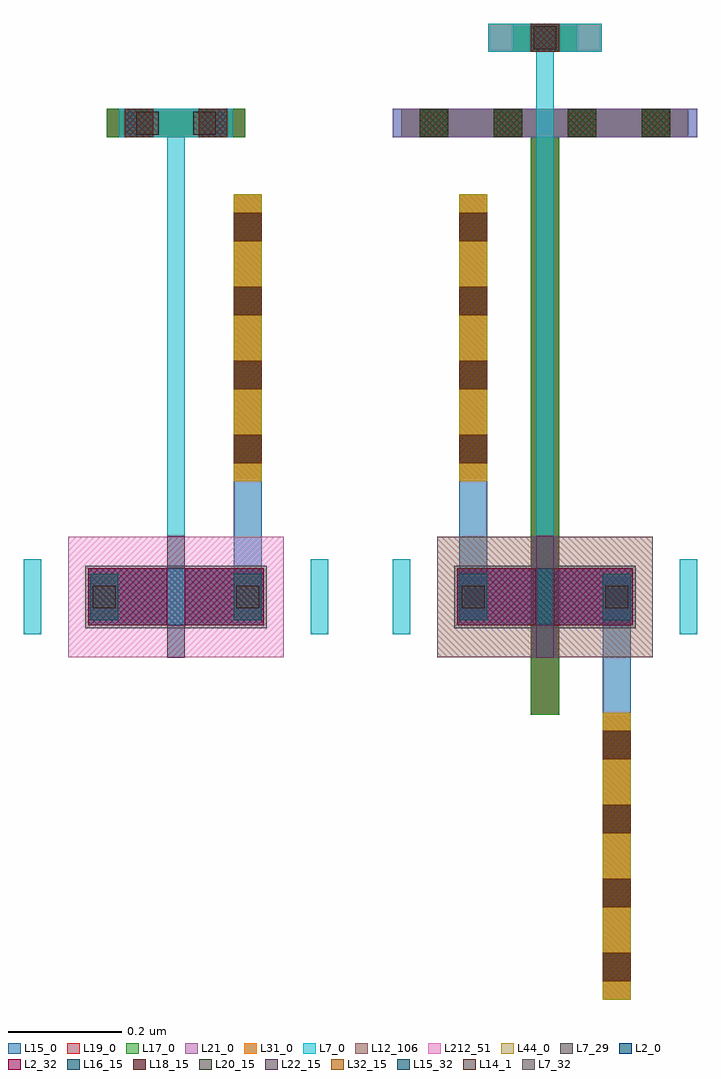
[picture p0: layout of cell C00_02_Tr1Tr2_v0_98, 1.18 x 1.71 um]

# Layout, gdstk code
import gdstk
lib = gdstk.Library(unit=1e-6, precision=1e-09)
def R(c, l, rs):  # rectangles x0, y0, x1, y1
    for r in rs: c.add(gdstk.rectangle(r[:2], r[2:], *l))
def A(c, l, x, y, w, h, nx, ny, dx, dy):  # array of equal rectangles
    R(c, l, [(x+i*dx, y+j*dy, x+i*dx+w, y+j*dy+h) for i in range(nx) for j in range(ny)])
L2_0 = (2, 0)
L2_32 = (2, 32)
L7_0 = (7, 0)
L7_29 = (7, 29)
L7_32 = (7, 32)
L12_106 = (12, 106)
L14_1 = (14, 1)
L15_0 = (15, 0)
L15_32 = (15, 32)
L16_15 = (16, 15)
L17_0 = (17, 0)
L18_15 = (18, 15)
L19_0 = (19, 0)
L20_15 = (20, 15)
L21_0 = (21, 0)
L22_15 = (22, 15)
L31_0 = (31, 0)
L32_15 = (32, 15)
L44_0 = (44, 0)
L212_51 = (212, 51)

c00_02_tr1tr2_v0_98_srf_ = lib.new_cell('C00_02_Tr1Tr2_v0_98:SRF_Tr1:SRF_Nmos')
R(c00_02_tr1tr2_v0_98_srf_, L2_0, [(-0.139,0.057,0.169,0.157)])
R(c00_02_tr1tr2_v0_98_srf_, L2_32, [(-0.139,0.057,0,0.157), (0.03,0.057,0.169,0.157)])
R(c00_02_tr1tr2_v0_98_srf_, L7_0, [(0,0,0.03,0.214), (-0.252,0.041,-0.222,0.173), (0.252,0.041,0.282,0.173)])
R(c00_02_tr1tr2_v0_98_srf_, L7_29, [(-0.144,0.052,0.174,0.162)])
R(c00_02_tr1tr2_v0_98_srf_, L7_32, [(0,0,0.03,0.057), (0,0.157,0.03,0.214)])
R(c00_02_tr1tr2_v0_98_srf_, L12_106, [(-0.174,0.001,0.204,0.213)])
R(c00_02_tr1tr2_v0_98_srf_, L14_1, [(-0.131,0.087,-0.091,0.127), (0.121,0.087,0.161,0.127)])
R(c00_02_tr1tr2_v0_98_srf_, L15_0, [(-0.136,0.066,-0.086,0.148), (-0.136,0.066,-0.086,0.148), (0.116,0.066,0.166,0.148), (0.116,0.066,0.166,0.148)])
R(c00_02_tr1tr2_v0_98_srf_, L15_32, [(-0.136,0.066,-0.086,0.148), (0.116,0.066,0.166,0.148)])

c_c00_02_tr1tr2_v0_98_srf_ = lib.new_cell('C00_02_Tr1Tr2_v0_98:SRF_Tr1:SRF_Tr1_Source_ViaM1Mx:SRF_ViaM1M2')
R(c_c00_02_tr1tr2_v0_98_srf_, L15_0, [(0,-0.422,0.05,0.082)])
A(c_c00_02_tr1tr2_v0_98_srf_, L16_15, 0, -0.39, 0.05, 0.05, 1, 4, 0, 0.13)
R(c_c00_02_tr1tr2_v0_98_srf_, L17_0, [(0,-0.422,0.05,0.082)])

c_c00_02_tr1tr2_v0_98_srf__ = lib.new_cell('C00_02_Tr1Tr2_v0_98:SRF_Tr1:SRF_Tr1_Source_ViaM1Mx:SRF_ViaM2M3')
R(c_c00_02_tr1tr2_v0_98_srf__, L17_0, [(0,-0.422,0.05,0.082)])
A(c_c00_02_tr1tr2_v0_98_srf__, L18_15, 0, -0.39, 0.05, 0.05, 1, 4, 0, 0.13)
R(c_c00_02_tr1tr2_v0_98_srf__, L19_0, [(0,-0.422,0.05,0.082)])

c_c00_02_tr1tr2_v0_98_srf___ = lib.new_cell('C00_02_Tr1Tr2_v0_98:SRF_Tr1:SRF_Tr1_Source_ViaM1Mx:SRF_ViaM3M4')
R(c_c00_02_tr1tr2_v0_98_srf___, L19_0, [(0,-0.422,0.05,0.082)])
A(c_c00_02_tr1tr2_v0_98_srf___, L20_15, 0, -0.39, 0.05, 0.05, 1, 4, 0, 0.13)
R(c_c00_02_tr1tr2_v0_98_srf___, L21_0, [(0,-0.422,0.05,0.082)])

c_c00_02_tr1tr2_v0_98_srf____ = lib.new_cell('C00_02_Tr1Tr2_v0_98:SRF_Tr1:SRF_Tr1_Source_ViaM1Mx:SRF_ViaM4M5')
R(c_c00_02_tr1tr2_v0_98_srf____, L21_0, [(0,-0.422,0.05,0.082)])
A(c_c00_02_tr1tr2_v0_98_srf____, L22_15, 0, -0.39, 0.05, 0.05, 1, 4, 0, 0.13)
R(c_c00_02_tr1tr2_v0_98_srf____, L31_0, [(0,-0.422,0.05,0.082)])

c_c00_02_tr1tr2_v0_98_srf_____ = lib.new_cell('C00_02_Tr1Tr2_v0_98:SRF_Tr1:SRF_Tr1_Source_ViaM1Mx:SRF_ViaM5M6')
R(c_c00_02_tr1tr2_v0_98_srf_____, L31_0, [(0,-0.422,0.05,0.082)])
A(c_c00_02_tr1tr2_v0_98_srf_____, L32_15, 0, -0.39, 0.05, 0.05, 1, 4, 0, 0.13)
R(c_c00_02_tr1tr2_v0_98_srf_____, L44_0, [(0,-0.422,0.05,0.082)])

c_c00_02_tr1tr2_v0_98_srf______ = lib.new_cell('C00_02_Tr1Tr2_v0_98:SRF_Tr1:SRF_Tr1_Source_ViaM1Mx')
c_c00_02_tr1tr2_v0_98_srf______.add(gdstk.Reference(c_c00_02_tr1tr2_v0_98_srf_, (-0.025,0.17)))
c_c00_02_tr1tr2_v0_98_srf______.add(gdstk.Reference(c_c00_02_tr1tr2_v0_98_srf__, (-0.025,0.17)))
c_c00_02_tr1tr2_v0_98_srf______.add(gdstk.Reference(c_c00_02_tr1tr2_v0_98_srf___, (-0.025,0.17)))
c_c00_02_tr1tr2_v0_98_srf______.add(gdstk.Reference(c_c00_02_tr1tr2_v0_98_srf____, (-0.025,0.17)))
c_c00_02_tr1tr2_v0_98_srf______.add(gdstk.Reference(c_c00_02_tr1tr2_v0_98_srf_____, (-0.025,0.17)))

c_c00_02_tr1tr2_v0_98_srf_______ = lib.new_cell('C00_02_Tr1Tr2_v0_98:SRF_Tr1:SRF_Ground_ViaM1Mx:SRF_ViaM1M2')
R(c_c00_02_tr1tr2_v0_98_srf_______, L15_0, [(-0.032,0,0.472,0.05)])
A(c_c00_02_tr1tr2_v0_98_srf_______, L16_15, 0, 0, 0.05, 0.05, 4, 1, 0.13, 0)
R(c_c00_02_tr1tr2_v0_98_srf_______, L17_0, [(-0.032,0,0.472,0.05)])

c_c00_02_tr1tr2_v0_98_srf________ = lib.new_cell('C00_02_Tr1Tr2_v0_98:SRF_Tr1:SRF_Ground_ViaM1Mx:SRF_ViaM2M3')
R(c_c00_02_tr1tr2_v0_98_srf________, L17_0, [(-0.032,0,0.472,0.05)])
A(c_c00_02_tr1tr2_v0_98_srf________, L18_15, 0, 0, 0.05, 0.05, 4, 1, 0.13, 0)
R(c_c00_02_tr1tr2_v0_98_srf________, L19_0, [(-0.032,0,0.472,0.05)])

c_c00_02_tr1tr2_v0_98_srf_________ = lib.new_cell('C00_02_Tr1Tr2_v0_98:SRF_Tr1:SRF_Ground_ViaM1Mx:SRF_ViaM3M4')
R(c_c00_02_tr1tr2_v0_98_srf_________, L19_0, [(-0.032,0,0.472,0.05)])
A(c_c00_02_tr1tr2_v0_98_srf_________, L20_15, 0, 0, 0.05, 0.05, 4, 1, 0.13, 0)
R(c_c00_02_tr1tr2_v0_98_srf_________, L21_0, [(-0.032,0,0.472,0.05)])

c_c00_02_tr1tr2_v0_98_srf__________ = lib.new_cell('C00_02_Tr1Tr2_v0_98:SRF_Tr1:SRF_Ground_ViaM1Mx')
c_c00_02_tr1tr2_v0_98_srf__________.add(gdstk.Reference(c_c00_02_tr1tr2_v0_98_srf_______, (-0.22,-0.025)))
c_c00_02_tr1tr2_v0_98_srf__________.add(gdstk.Reference(c_c00_02_tr1tr2_v0_98_srf________, (-0.22,-0.025)))
c_c00_02_tr1tr2_v0_98_srf__________.add(gdstk.Reference(c_c00_02_tr1tr2_v0_98_srf_________, (-0.22,-0.025)))

c_c00_02_tr1tr2_v0_98_srf___________ = lib.new_cell('C00_02_Tr1Tr2_v0_98:SRF_Tr1:SRF_Gate_ViaM0M3:SRF_ViaM0M1')
R(c_c00_02_tr1tr2_v0_98_srf___________, L7_0, [(-0.01,-0.004,0.05,0.044)])
R(c_c00_02_tr1tr2_v0_98_srf___________, L14_1, [(0,0,0.04,0.04)])
R(c_c00_02_tr1tr2_v0_98_srf___________, L15_0, [(-0.021,-0.005,0.061,0.045)])

c_c00_02_tr1tr2_v0_98_srf____________ = lib.new_cell('C00_02_Tr1Tr2_v0_98:SRF_Tr1:SRF_Gate_ViaM0M3:SRF_ViaM1M2')
R(c_c00_02_tr1tr2_v0_98_srf____________, L15_0, [(-0.032,0,0.082,0.05)])
R(c_c00_02_tr1tr2_v0_98_srf____________, L16_15, [(0,0,0.05,0.05)])
R(c_c00_02_tr1tr2_v0_98_srf____________, L17_0, [(-0.032,0,0.082,0.05)])

c_c00_02_tr1tr2_v0_98_srf_____________ = lib.new_cell('C00_02_Tr1Tr2_v0_98:SRF_Tr1:SRF_Gate_ViaM0M3:SRF_ViaM2M3')
R(c_c00_02_tr1tr2_v0_98_srf_____________, L17_0, [(-0.032,0,0.082,0.05)])
R(c_c00_02_tr1tr2_v0_98_srf_____________, L18_15, [(0,0,0.05,0.05)])
R(c_c00_02_tr1tr2_v0_98_srf_____________, L19_0, [(-0.032,0,0.082,0.05)])

c_c00_02_tr1tr2_v0_98_srf______________ = lib.new_cell('C00_02_Tr1Tr2_v0_98:SRF_Tr1:SRF_Gate_ViaM0M3')
c_c00_02_tr1tr2_v0_98_srf______________.add(gdstk.Reference(c_c00_02_tr1tr2_v0_98_srf___________, (-0.02,-0.02)))
c_c00_02_tr1tr2_v0_98_srf______________.add(gdstk.Reference(c_c00_02_tr1tr2_v0_98_srf____________, (-0.025,-0.025)))
c_c00_02_tr1tr2_v0_98_srf______________.add(gdstk.Reference(c_c00_02_tr1tr2_v0_98_srf_____________, (-0.025,-0.025)))

c_c00_02_tr1tr2_v0_98_srf_______________ = lib.new_cell('C00_02_Tr1Tr2_v0_98:SRF_Tr1:SRF_Tr1_Drain_ViaM1Mx:SRF_ViaM1M2')
R(c_c00_02_tr1tr2_v0_98_srf_______________, L15_0, [(0,-0.422,0.05,0.082)])
A(c_c00_02_tr1tr2_v0_98_srf_______________, L16_15, 0, -0.39, 0.05, 0.05, 1, 4, 0, 0.13)
R(c_c00_02_tr1tr2_v0_98_srf_______________, L17_0, [(0,-0.422,0.05,0.082)])

c_c00_02_tr1tr2_v0_98_srf________________ = lib.new_cell('C00_02_Tr1Tr2_v0_98:SRF_Tr1:SRF_Tr1_Drain_ViaM1Mx:SRF_ViaM2M3')
R(c_c00_02_tr1tr2_v0_98_srf________________, L17_0, [(0,-0.422,0.05,0.082)])
A(c_c00_02_tr1tr2_v0_98_srf________________, L18_15, 0, -0.39, 0.05, 0.05, 1, 4, 0, 0.13)
R(c_c00_02_tr1tr2_v0_98_srf________________, L19_0, [(0,-0.422,0.05,0.082)])

c_c00_02_tr1tr2_v0_98_srf_________________ = lib.new_cell('C00_02_Tr1Tr2_v0_98:SRF_Tr1:SRF_Tr1_Drain_ViaM1Mx:SRF_ViaM3M4')
R(c_c00_02_tr1tr2_v0_98_srf_________________, L19_0, [(0,-0.422,0.05,0.082)])
A(c_c00_02_tr1tr2_v0_98_srf_________________, L20_15, 0, -0.39, 0.05, 0.05, 1, 4, 0, 0.13)
R(c_c00_02_tr1tr2_v0_98_srf_________________, L21_0, [(0,-0.422,0.05,0.082)])

c_c00_02_tr1tr2_v0_98_srf__________________ = lib.new_cell('C00_02_Tr1Tr2_v0_98:SRF_Tr1:SRF_Tr1_Drain_ViaM1Mx:SRF_ViaM4M5')
R(c_c00_02_tr1tr2_v0_98_srf__________________, L21_0, [(0,-0.422,0.05,0.082)])
A(c_c00_02_tr1tr2_v0_98_srf__________________, L22_15, 0, -0.39, 0.05, 0.05, 1, 4, 0, 0.13)
R(c_c00_02_tr1tr2_v0_98_srf__________________, L31_0, [(0,-0.422,0.05,0.082)])

c_c00_02_tr1tr2_v0_98_srf___________________ = lib.new_cell('C00_02_Tr1Tr2_v0_98:SRF_Tr1:SRF_Tr1_Drain_ViaM1Mx:SRF_ViaM5M6')
R(c_c00_02_tr1tr2_v0_98_srf___________________, L31_0, [(0,-0.422,0.05,0.082)])
A(c_c00_02_tr1tr2_v0_98_srf___________________, L32_15, 0, -0.39, 0.05, 0.05, 1, 4, 0, 0.13)
R(c_c00_02_tr1tr2_v0_98_srf___________________, L44_0, [(0,-0.422,0.05,0.082)])

c_c00_02_tr1tr2_v0_98_srf____________________ = lib.new_cell('C00_02_Tr1Tr2_v0_98:SRF_Tr1:SRF_Tr1_Drain_ViaM1Mx')
c_c00_02_tr1tr2_v0_98_srf____________________.add(gdstk.Reference(c_c00_02_tr1tr2_v0_98_srf_______________, (-0.025,0.17)))
c_c00_02_tr1tr2_v0_98_srf____________________.add(gdstk.Reference(c_c00_02_tr1tr2_v0_98_srf________________, (-0.025,0.17)))
c_c00_02_tr1tr2_v0_98_srf____________________.add(gdstk.Reference(c_c00_02_tr1tr2_v0_98_srf_________________, (-0.025,0.17)))
c_c00_02_tr1tr2_v0_98_srf____________________.add(gdstk.Reference(c_c00_02_tr1tr2_v0_98_srf__________________, (-0.025,0.17)))
c_c00_02_tr1tr2_v0_98_srf____________________.add(gdstk.Reference(c_c00_02_tr1tr2_v0_98_srf___________________, (-0.025,0.17)))

c_c00_02_tr1tr2_v0_98_srf_____________________ = lib.new_cell('C00_02_Tr1Tr2_v0_98:SRF_Tr1')
R(c_c00_02_tr1tr2_v0_98_srf_____________________, L7_0, [(0,0.214,0.03,1.064), (-0.085,1.064,0.115,1.114)])
R(c_c00_02_tr1tr2_v0_98_srf_____________________, L15_0, [(0.116,-0.6,0.166,0.066), (-0.01,-0.1,0.04,0.914), (-0.136,0.148,-0.086,0.814), (-0.252,0.914,0.282,0.964)])
R(c_c00_02_tr1tr2_v0_98_srf_____________________, L17_0, [(-0.01,-0.1,0.04,0.914)])
R(c_c00_02_tr1tr2_v0_98_srf_____________________, L19_0, [(-0.01,-0.1,0.04,0.914), (-0.085,1.064,0.115,1.114)])
R(c_c00_02_tr1tr2_v0_98_srf_____________________, L21_0, [(-0.252,0.914,0.282,0.964)])
c_c00_02_tr1tr2_v0_98_srf_____________________.add(gdstk.Reference(c00_02_tr1tr2_v0_98_srf_, (0,0)))
c_c00_02_tr1tr2_v0_98_srf_____________________.add(gdstk.Reference(c_c00_02_tr1tr2_v0_98_srf______, (-0.111,0.562)))
c_c00_02_tr1tr2_v0_98_srf_____________________.add(gdstk.Reference(c_c00_02_tr1tr2_v0_98_srf__________, (0.015,0.939)))
c_c00_02_tr1tr2_v0_98_srf_____________________.add(gdstk.Reference(c_c00_02_tr1tr2_v0_98_srf______________, (0.015,1.089)))
c_c00_02_tr1tr2_v0_98_srf_____________________.add(gdstk.Reference(c_c00_02_tr1tr2_v0_98_srf____________________, (0.141,-0.348)))

c_c00_02_tr1tr2_v0_98_srf______________________ = lib.new_cell('C00_02_Tr1Tr2_v0_98:SRF_Tr2:SRF_Nmos')
R(c_c00_02_tr1tr2_v0_98_srf______________________, L2_0, [(-0.139,0.057,0.169,0.157)])
R(c_c00_02_tr1tr2_v0_98_srf______________________, L2_32, [(-0.139,0.057,0,0.157), (0.03,0.057,0.169,0.157)])
R(c_c00_02_tr1tr2_v0_98_srf______________________, L7_0, [(0,0,0.03,0.214), (-0.252,0.041,-0.222,0.173), (0.252,0.041,0.282,0.173)])
R(c_c00_02_tr1tr2_v0_98_srf______________________, L7_29, [(-0.144,0.052,0.174,0.162)])
R(c_c00_02_tr1tr2_v0_98_srf______________________, L7_32, [(0,0,0.03,0.057), (0,0.157,0.03,0.214)])
R(c_c00_02_tr1tr2_v0_98_srf______________________, L14_1, [(-0.131,0.087,-0.091,0.127), (0.121,0.087,0.161,0.127)])
R(c_c00_02_tr1tr2_v0_98_srf______________________, L15_0, [(-0.136,0.066,-0.086,0.148), (-0.136,0.066,-0.086,0.148), (0.116,0.066,0.166,0.148), (0.116,0.066,0.166,0.148)])
R(c_c00_02_tr1tr2_v0_98_srf______________________, L15_32, [(-0.136,0.066,-0.086,0.148), (0.116,0.066,0.166,0.148)])
R(c_c00_02_tr1tr2_v0_98_srf______________________, L212_51, [(-0.174,0.001,0.204,0.213)])

c_c00_02_tr1tr2_v0_98_srf_______________________ = lib.new_cell('C00_02_Tr1Tr2_v0_98:SRF_Tr2:SRF_Tr2_Drain_ViaM1Mx:SRF_ViaM1M2')
R(c_c00_02_tr1tr2_v0_98_srf_______________________, L15_0, [(0,-0.422,0.05,0.082)])
A(c_c00_02_tr1tr2_v0_98_srf_______________________, L16_15, 0, -0.39, 0.05, 0.05, 1, 4, 0, 0.13)
R(c_c00_02_tr1tr2_v0_98_srf_______________________, L17_0, [(0,-0.422,0.05,0.082)])

c_c00_02_tr1tr2_v0_98_srf________________________ = lib.new_cell('C00_02_Tr1Tr2_v0_98:SRF_Tr2:SRF_Tr2_Drain_ViaM1Mx:SRF_ViaM2M3')
R(c_c00_02_tr1tr2_v0_98_srf________________________, L17_0, [(0,-0.422,0.05,0.082)])
A(c_c00_02_tr1tr2_v0_98_srf________________________, L18_15, 0, -0.39, 0.05, 0.05, 1, 4, 0, 0.13)
R(c_c00_02_tr1tr2_v0_98_srf________________________, L19_0, [(0,-0.422,0.05,0.082)])

c_c00_02_tr1tr2_v0_98_srf_________________________ = lib.new_cell('C00_02_Tr1Tr2_v0_98:SRF_Tr2:SRF_Tr2_Drain_ViaM1Mx:SRF_ViaM3M4')
R(c_c00_02_tr1tr2_v0_98_srf_________________________, L19_0, [(0,-0.422,0.05,0.082)])
A(c_c00_02_tr1tr2_v0_98_srf_________________________, L20_15, 0, -0.39, 0.05, 0.05, 1, 4, 0, 0.13)
R(c_c00_02_tr1tr2_v0_98_srf_________________________, L21_0, [(0,-0.422,0.05,0.082)])

c_c00_02_tr1tr2_v0_98_srf__________________________ = lib.new_cell('C00_02_Tr1Tr2_v0_98:SRF_Tr2:SRF_Tr2_Drain_ViaM1Mx:SRF_ViaM4M5')
R(c_c00_02_tr1tr2_v0_98_srf__________________________, L21_0, [(0,-0.422,0.05,0.082)])
A(c_c00_02_tr1tr2_v0_98_srf__________________________, L22_15, 0, -0.39, 0.05, 0.05, 1, 4, 0, 0.13)
R(c_c00_02_tr1tr2_v0_98_srf__________________________, L31_0, [(0,-0.422,0.05,0.082)])

c_c00_02_tr1tr2_v0_98_srf___________________________ = lib.new_cell('C00_02_Tr1Tr2_v0_98:SRF_Tr2:SRF_Tr2_Drain_ViaM1Mx:SRF_ViaM5M6')
R(c_c00_02_tr1tr2_v0_98_srf___________________________, L31_0, [(0,-0.422,0.05,0.082)])
A(c_c00_02_tr1tr2_v0_98_srf___________________________, L32_15, 0, -0.39, 0.05, 0.05, 1, 4, 0, 0.13)
R(c_c00_02_tr1tr2_v0_98_srf___________________________, L44_0, [(0,-0.422,0.05,0.082)])

c_c00_02_tr1tr2_v0_98_srf____________________________ = lib.new_cell('C00_02_Tr1Tr2_v0_98:SRF_Tr2:SRF_Tr2_Drain_ViaM1Mx')
c_c00_02_tr1tr2_v0_98_srf____________________________.add(gdstk.Reference(c_c00_02_tr1tr2_v0_98_srf_______________________, (-0.025,0.17)))
c_c00_02_tr1tr2_v0_98_srf____________________________.add(gdstk.Reference(c_c00_02_tr1tr2_v0_98_srf________________________, (-0.025,0.17)))
c_c00_02_tr1tr2_v0_98_srf____________________________.add(gdstk.Reference(c_c00_02_tr1tr2_v0_98_srf_________________________, (-0.025,0.17)))
c_c00_02_tr1tr2_v0_98_srf____________________________.add(gdstk.Reference(c_c00_02_tr1tr2_v0_98_srf__________________________, (-0.025,0.17)))
c_c00_02_tr1tr2_v0_98_srf____________________________.add(gdstk.Reference(c_c00_02_tr1tr2_v0_98_srf___________________________, (-0.025,0.17)))

c_c00_02_tr1tr2_v0_98_srf_____________________________ = lib.new_cell('C00_02_Tr1Tr2_v0_98:SRF_Tr2:SRF_Gate_ViaM0M3:SRF_ViaM0M1')
R(c_c00_02_tr1tr2_v0_98_srf_____________________________, L7_0, [(-0.01,-0.004,0.15,0.044)])
R(c_c00_02_tr1tr2_v0_98_srf_____________________________, L14_1, [(0,0,0.04,0.04), (0.1,0,0.14,0.04)])
R(c_c00_02_tr1tr2_v0_98_srf_____________________________, L15_0, [(-0.021,-0.005,0.161,0.045)])

c_c00_02_tr1tr2_v0_98_srf______________________________ = lib.new_cell('C00_02_Tr1Tr2_v0_98:SRF_Tr2:SRF_Gate_ViaM0M3:SRF_ViaM1M2')
R(c_c00_02_tr1tr2_v0_98_srf______________________________, L15_0, [(-0.032,0,0.212,0.05)])
R(c_c00_02_tr1tr2_v0_98_srf______________________________, L16_15, [(0,0,0.05,0.05), (0.13,0,0.18,0.05)])
R(c_c00_02_tr1tr2_v0_98_srf______________________________, L17_0, [(-0.032,0,0.212,0.05)])

c_c00_02_tr1tr2_v0_98_srf_______________________________ = lib.new_cell('C00_02_Tr1Tr2_v0_98:SRF_Tr2:SRF_Gate_ViaM0M3:SRF_ViaM2M3')
R(c_c00_02_tr1tr2_v0_98_srf_______________________________, L17_0, [(-0.032,0,0.212,0.05)])
R(c_c00_02_tr1tr2_v0_98_srf_______________________________, L18_15, [(0,0,0.05,0.05), (0.13,0,0.18,0.05)])
R(c_c00_02_tr1tr2_v0_98_srf_______________________________, L19_0, [(-0.032,0,0.212,0.05)])

c_c00_02_tr1tr2_v0_98_srf________________________________ = lib.new_cell('C00_02_Tr1Tr2_v0_98:SRF_Tr2:SRF_Gate_ViaM0M3')
c_c00_02_tr1tr2_v0_98_srf________________________________.add(gdstk.Reference(c_c00_02_tr1tr2_v0_98_srf_____________________________, (-0.07,-0.02)))
c_c00_02_tr1tr2_v0_98_srf________________________________.add(gdstk.Reference(c_c00_02_tr1tr2_v0_98_srf______________________________, (-0.09,-0.025)))
c_c00_02_tr1tr2_v0_98_srf________________________________.add(gdstk.Reference(c_c00_02_tr1tr2_v0_98_srf_______________________________, (-0.09,-0.025)))

c_c00_02_tr1tr2_v0_98_srf_________________________________ = lib.new_cell('C00_02_Tr1Tr2_v0_98:SRF_Tr2')
R(c_c00_02_tr1tr2_v0_98_srf_________________________________, L7_0, [(0,0.214,0.03,0.914), (-0.085,0.914,0.115,0.964)])
R(c_c00_02_tr1tr2_v0_98_srf_________________________________, L15_0, [(0.116,0.148,0.166,0.814)])
R(c_c00_02_tr1tr2_v0_98_srf_________________________________, L19_0, [(-0.085,0.914,0.115,0.964)])
c_c00_02_tr1tr2_v0_98_srf_________________________________.add(gdstk.Reference(c_c00_02_tr1tr2_v0_98_srf______________________, (0,0)))
c_c00_02_tr1tr2_v0_98_srf_________________________________.add(gdstk.Reference(c_c00_02_tr1tr2_v0_98_srf____________________________, (0.141,0.562)))
c_c00_02_tr1tr2_v0_98_srf_________________________________.add(gdstk.Reference(c_c00_02_tr1tr2_v0_98_srf________________________________, (0.015,0.939)))

c00_02_tr1tr2_v0_98 = lib.new_cell('C00_02_Tr1Tr2_v0_98')
c00_02_tr1tr2_v0_98.add(gdstk.Reference(c_c00_02_tr1tr2_v0_98_srf_____________________, (0,0)))
c00_02_tr1tr2_v0_98.add(gdstk.Reference(c_c00_02_tr1tr2_v0_98_srf_________________________________, (-0.648,0)))

lib.write_gds('C00_02_Tr1Tr2_v0_98.gds')
